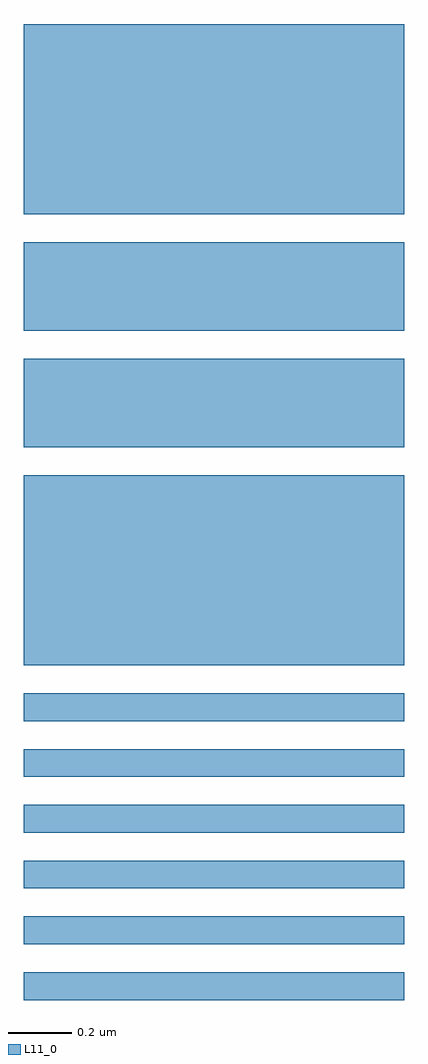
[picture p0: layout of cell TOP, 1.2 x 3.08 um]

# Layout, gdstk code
import gdstk
lib = gdstk.Library(unit=1e-6, precision=1e-09)
def R(c, l, rs):  # rectangles x0, y0, x1, y1
    for r in rs: c.add(gdstk.rectangle(r[:2], r[2:], *l))
def A(c, l, x, y, w, h, nx, ny, dx, dy):  # array of equal rectangles
    R(c, l, [(x+i*dx, y+j*dy, x+i*dx+w, y+j*dy+h) for i in range(nx) for j in range(ny)])
L11_0 = (11, 0)

top = lib.new_cell('TOP')
A(top, L11_0, 0.1, 0.188, 1.2, 0.088, 1, 6, 0, 0.176)
R(top, L11_0, [(0.1,1.244,1.3,1.844), (0.1,1.932,1.3,2.212), (0.1,2.3,1.3,2.58), (0.1,2.668,1.3,3.268)])

lib.write_gds('TOP.gds')
